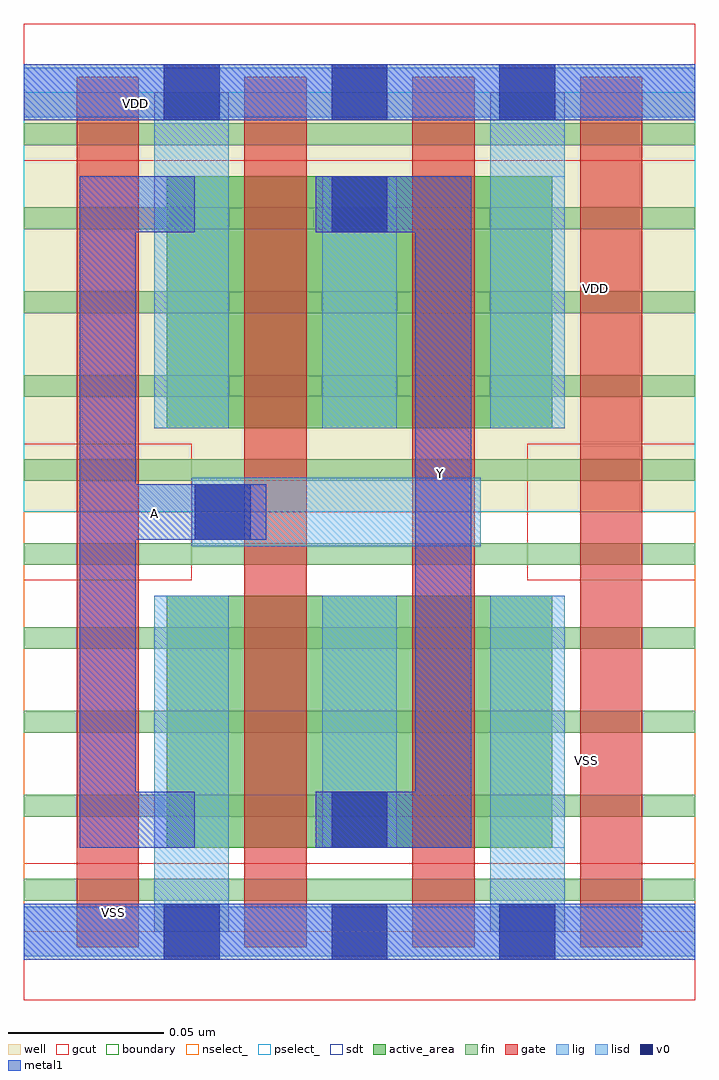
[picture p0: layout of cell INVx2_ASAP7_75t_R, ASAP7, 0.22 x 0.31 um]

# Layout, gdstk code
import gdstk
lib = gdstk.Library(unit=1e-6, precision=2.5e-10)
def R(c, l, rs):  # rectangles x0, y0, x1, y1
    for r in rs: c.add(gdstk.rectangle(r[:2], r[2:], *l))
def A(c, l, x, y, w, h, nx, ny, dx, dy):  # array of equal rectangles
    R(c, l, [(x+i*dx, y+j*dy, x+i*dx+w, y+j*dy+h) for i in range(nx) for j in range(ny)])
def P(c, l, *ps):  # polygons
    for p in ps: c.add(gdstk.Polygon(p, *l))
well = (1, 0)
fin = (2, 0)
gate = (7, 0)
gcut = (10, 0)
active_area = (11, 0)
nselect_ = (12, 0)
pselect_ = (13, 0)
lig = (16, 0)
lisd = (17, 0)
v0 = (18, 0)
metal1 = (19, 0)
sdt = (88, 0)
boundary = (100, 0)

invx2_asap7_75t_r = lib.new_cell('INVx2_ASAP7_75t_R')
R(invx2_asap7_75t_r, well, [(0,0.135,0.216,0.27)])
A(invx2_asap7_75t_r, fin, 0, 0.01, 0.216, 0.007, 1, 10, 0, 0.027)
A(invx2_asap7_75t_r, gate, 0.017, -0.005, 0.02, 0.28, 4, 1, 0.054, 0)
R(invx2_asap7_75t_r, gcut, [(0,-0.022,0.216,0.022), (0,0.113,0.054,0.157), (0.162,0.113,0.216,0.157), (0,0.248,0.216,0.292)])
R(invx2_asap7_75t_r, active_area, [(0.046,0.027,0.17,0.108), (0.046,0.162,0.17,0.243)])
R(invx2_asap7_75t_r, nselect_, [(0,0,0.216,0.135)])
R(invx2_asap7_75t_r, pselect_, [(0,0.135,0.216,0.27)])
R(invx2_asap7_75t_r, lig, [(0,-0.008,0.216,0.008), (0.054,0.124,0.147,0.146), (0,0.262,0.216,0.278)])
R(invx2_asap7_75t_r, lisd, [(0.042,0,0.066,0.108), (0.15,0,0.174,0.108), (0.096,0.027,0.12,0.108), (0.042,0.162,0.066,0.27), (0.096,0.162,0.12,0.243), (0.15,0.162,0.174,0.27)])
A(invx2_asap7_75t_r, v0, 0.045, -0.009, 0.018, 0.018, 3, 2, 0.054, 0.27)
R(invx2_asap7_75t_r, v0, [(0.099,0.027,0.117,0.045), (0.055,0.126,0.073,0.144), (0.099,0.225,0.117,0.243)])
R(invx2_asap7_75t_r, metal1, [(0,-0.009,0.216,0.009), (0,0.261,0.216,0.279)])
P(invx2_asap7_75t_r, metal1, [(0.018,0.027),(0.018,0.243),(0.055,0.243),(0.055,0.225),(0.036,0.225),(0.036,0.144),(0.078,0.144),(0.078,0.126),(0.036,0.126),(0.036,0.045),(0.055,0.045),(0.055,0.027)],
  [(0.094,0.027),(0.094,0.045),(0.126,0.045),(0.126,0.225),(0.094,0.225),(0.094,0.243),(0.144,0.243),(0.144,0.027)])
A(invx2_asap7_75t_r, sdt, 0.042, 0.027, 0.024, 0.081, 3, 2, 0.054, 0.135)
R(invx2_asap7_75t_r, boundary, [(0,0,0.216,0.27)])
invx2_asap7_75t_r.add(gdstk.Label('VSS', (0.029,0.006), layer=19, texttype=251))
invx2_asap7_75t_r.add(gdstk.Label('VDD', (0.036,0.2665), layer=19, texttype=251))
invx2_asap7_75t_r.add(gdstk.Label('A', (0.042,0.1345), layer=19, texttype=251))
invx2_asap7_75t_r.add(gdstk.Label('Y', (0.134,0.1475), layer=19, texttype=251))
invx2_asap7_75t_r.add(gdstk.Label('VDD', (0.184,0.207), layer=1, texttype=251))
invx2_asap7_75t_r.add(gdstk.Label('VSS', (0.181,0.055), layer=3, texttype=251))

lib.write_gds('INVx2_ASAP7_75t_R.gds')
